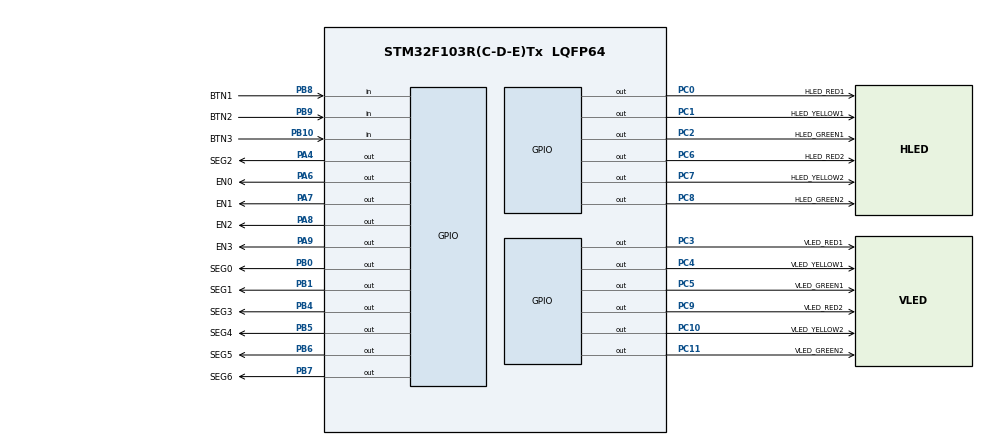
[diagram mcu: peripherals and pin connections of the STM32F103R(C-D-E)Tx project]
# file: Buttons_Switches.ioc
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Mcu.Family=STM32F1
Mcu.Name=STM32F103R(C-D-E)Tx
Mcu.Package=LQFP64
NVIC.PriorityGroup=NVIC_PRIORITYGROUP_4
NVIC.TIM2_IRQn=true\:0\:0\:false\:false\:true\:true\:true\:true
PA13.Mode=Serial_Wire
PA13.Signal=SYS_JTMS-SWDIO
PA14.Mode=Serial_Wire
PA14.Signal=SYS_JTCK-SWCLK
PA4.GPIO_Label=SEG2
PA4.Signal=GPIO_Output
PA6.GPIO_Label=EN0
PA6.Signal=GPIO_Output
PA7.GPIO_Label=EN1
PA7.Signal=GPIO_Output
PA8.GPIO_Label=EN2
PA8.Signal=GPIO_Output
PA9.GPIO_Label=EN3
PA9.Signal=GPIO_Output
PB0.GPIO_Label=SEG0
PB0.Signal=GPIO_Output
PB1.GPIO_Label=SEG1
PB1.Signal=GPIO_Output
PB10.GPIO_Label=BTN3
PB10.Signal=GPIO_Input
PB4.GPIO_Label=SEG3
PB4.Signal=GPIO_Output
PB5.GPIO_Label=SEG4
PB5.Signal=GPIO_Output
PB6.GPIO_Label=SEG5
PB6.Signal=GPIO_Output
PB7.GPIO_Label=SEG6
PB7.Signal=GPIO_Output
PB8.GPIO_Label=BTN1
PB8.Signal=GPIO_Input
PB9.GPIO_Label=BTN2
PB9.Signal=GPIO_Input
PC0.GPIO_Label=HLED_RED1
PC0.Signal=GPIO_Output
PC1.GPIO_Label=HLED_YELLOW1
PC1.Signal=GPIO_Output
PC10.GPIO_Label=VLED_YELLOW2
PC10.Signal=GPIO_Output
PC11.GPIO_Label=VLED_GREEN2
PC11.Signal=GPIO_Output
PC2.GPIO_Label=HLED_GREEN1
PC2.Signal=GPIO_Output
PC3.GPIO_Label=VLED_RED1
PC3.Signal=GPIO_Output
PC4.GPIO_Label=VLED_YELLOW1
PC4.Signal=GPIO_Output
PC5.GPIO_Label=VLED_GREEN1
PC5.Signal=GPIO_Output
PC6.GPIO_Label=HLED_RED2
PC6.Signal=GPIO_Output
PC7.GPIO_Label=HLED_YELLOW2
PC7.Signal=GPIO_Output
PC8.GPIO_Label=HLED_GREEN2
PC8.Signal=GPIO_Output
PC9.GPIO_Label=VLED_RED2
PC9.Signal=GPIO_Output
ProjectManager.HeapSize=0x200
ProjectManager.StackSize=0x400
ProjectManager.TargetToolchain=STM32CubeIDE
RCC.APB1Freq_Value=8000000
RCC.APB2Freq_Value=8000000
TIM2.Period=9
TIM2.Prescaler=799
VP_TIM2_VS_ClockSourceINT.Mode=Internal
board=custom

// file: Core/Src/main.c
/* USER CODE BEGIN Header */
/**
  ******************************************************************************
  * @file           : main.c
  * @brief          : Main program body
  ******************************************************************************
  * @attention
  *
  * Copyright (c) 2024 STMicroelectronics.
  * All rights reserved.
  *
  * This software is licensed under terms that can be found in the LICENSE file
  * in the root directory of this software component.
  * If no LICENSE file comes with this software, it is provided AS-IS.
  *
  ******************************************************************************
  */
/* USER CODE END Header */
#include "main.h"

/* USER CODE BEGIN Includes */
#include "timer.h"
#include "7seg.h"
#include "matrix.h"
#include "button.h"
#include "traffic_light.h"
#include "global.h"
#include "automatic.h"
#include "manual.h"
/* USER CODE END Includes */

TIM_HandleTypeDef htim2;

void SystemClock_Config(void);
static void MX_GPIO_Init(void);
static void MX_TIM2_Init(void);

int main(void)
{

  /* MCU Configuration--------------------------------------------------------*/

  /* Reset of all peripherals, Initializes the Flash interface and the Systick. */
  HAL_Init();

  /* Configure the system clock */
  SystemClock_Config();

  /* Initialize all configured peripherals */
  MX_GPIO_Init();
  MX_TIM2_Init();
  /* USER CODE BEGIN 2 */
  HAL_TIM_Base_Start_IT(&htim2);
  initButtons(); //Init for button_array
  setTimer(4, 1000); // Timer 5
  /* USER CODE END 2 */

  /* Infinite loop */
  while (1)
  {

    /* USER CODE BEGIN 3 */
	  fsm_automatic();
	  fsm_manual();
	  fsm_setting();
  }
  /* USER CODE END 3 */
}

void SystemClock_Config(void)
{
  RCC_OscInitTypeDef RCC_OscInitStruct = {0};
  RCC_ClkInitTypeDef RCC_ClkInitStruct = {0};

  /** Initializes the RCC Oscillators according to the specified parameters
  * in the RCC_OscInitTypeDef structure.
  */
  RCC_OscInitStruct.OscillatorType = RCC_OSCILLATORTYPE_HSI;
  RCC_OscInitStruct.HSIState = RCC_HSI_ON;
  RCC_OscInitStruct.HSICalibrationValue = RCC_HSICALIBRATION_DEFAULT;
  RCC_OscInitStruct.PLL.PLLState = RCC_PLL_NONE;
  if (HAL_RCC_OscConfig(&RCC_OscInitStruct) != HAL_OK)
  {
    Error_Handler();
  }

  /** Initializes the CPU, AHB and APB buses clocks
  */
  RCC_ClkInitStruct.ClockType = RCC_CLOCKTYPE_HCLK|RCC_CLOCKTYPE_SYSCLK
                              |RCC_CLOCKTYPE_PCLK1|RCC_CLOCKTYPE_PCLK2;
  RCC_ClkInitStruct.SYSCLKSource = RCC_SYSCLKSOURCE_HSI;
  RCC_ClkInitStruct.AHBCLKDivider = RCC_SYSCLK_DIV1;
  RCC_ClkInitStruct.APB1CLKDivider = RCC_HCLK_DIV1;
  RCC_ClkInitStruct.APB2CLKDivider = RCC_HCLK_DIV1;

  if (HAL_RCC_ClockConfig(&RCC_ClkInitStruct, FLASH_LATENCY_0) != HAL_OK)
  {
    Error_Handler();
  }
}

static void MX_TIM2_Init(void)
{

  TIM_ClockConfigTypeDef sClockSourceConfig = {0};
  TIM_MasterConfigTypeDef sMasterConfig = {0};

  htim2.Instance = TIM2;
  htim2.Init.Prescaler = 799;
  htim2.Init.CounterMode = TIM_COUNTERMODE_UP;
  htim2.Init.Period = 9;
  htim2.Init.ClockDivision = TIM_CLOCKDIVISION_DIV1;
  htim2.Init.AutoReloadPreload = TIM_AUTORELOAD_PRELOAD_DISABLE;
  if (HAL_TIM_Base_Init(&htim2) != HAL_OK)
  {
    Error_Handler();
  }
  sClockSourceConfig.ClockSource = TIM_CLOCKSOURCE_INTERNAL;
  if (HAL_TIM_ConfigClockSource(&htim2, &sClockSourceConfig) != HAL_OK)
  {
    Error_Handler();
  }
  sMasterConfig.MasterOutputTrigger = TIM_TRGO_RESET;
  sMasterConfig.MasterSlaveMode = TIM_MASTERSLAVEMODE_DISABLE;
  if (HAL_TIMEx_MasterConfigSynchronization(&htim2, &sMasterConfig) != HAL_OK)
  {
    Error_Handler();
  }

}

static void MX_GPIO_Init(void)
{
  GPIO_InitTypeDef GPIO_InitStruct = {0};

  /* GPIO Ports Clock Enable */
  __HAL_RCC_GPIOC_CLK_ENABLE();
  __HAL_RCC_GPIOA_CLK_ENABLE();
  __HAL_RCC_GPIOB_CLK_ENABLE();

  /*Configure GPIO pin Output Level */
  HAL_GPIO_WritePin(GPIOC, HLED_RED1_Pin|HLED_YELLOW1_Pin|HLED_GREEN1_Pin|VLED_RED1_Pin
                          |VLED_YELLOW1_Pin|VLED_GREEN1_Pin|HLED_RED2_Pin|HLED_YELLOW2_Pin
                          |HLED_GREEN2_Pin|VLED_RED2_Pin|VLED_YELLOW2_Pin|VLED_GREEN2_Pin, GPIO_PIN_RESET);

  /*Configure GPIO pin Output Level */
  HAL_GPIO_WritePin(GPIOA, SEG2_Pin|EN0_Pin|EN1_Pin|EN2_Pin
                          |EN3_Pin, GPIO_PIN_RESET);

  /*Configure GPIO pin Output Level */
  HAL_GPIO_WritePin(GPIOB, SEG0_Pin|SEG1_Pin|SEG3_Pin|SEG4_Pin
                          |SEG5_Pin|SEG6_Pin, GPIO_PIN_RESET);

  /*Configure GPIO pins : HLED_RED1_Pin HLED_YELLOW1_Pin HLED_GREEN1_Pin VLED_RED1_Pin
                           VLED_YELLOW1_Pin VLED_GREEN1_Pin HLED_RED2_Pin HLED_YELLOW2_Pin
                           HLED_GREEN2_Pin VLED_RED2_Pin VLED_YELLOW2_Pin VLED_GREEN2_Pin */
  GPIO_InitStruct.Pin = HLED_RED1_Pin|HLED_YELLOW1_Pin|HLED_GREEN1_Pin|VLED_RED1_Pin
                          |VLED_YELLOW1_Pin|VLED_GREEN1_Pin|HLED_RED2_Pin|HLED_YELLOW2_Pin
                          |HLED_GREEN2_Pin|VLED_RED2_Pin|VLED_YELLOW2_Pin|VLED_GREEN2_Pin;
  GPIO_InitStruct.Mode = GPIO_MODE_OUTPUT_PP;
  GPIO_InitStruct.Pull = GPIO_NOPULL;
  GPIO_InitStruct.Speed = GPIO_SPEED_FREQ_LOW;
  HAL_GPIO_Init(GPIOC, &GPIO_InitStruct);

  /*Configure GPIO pins : SEG2_Pin EN0_Pin EN1_Pin EN2_Pin
                           EN3_Pin */
  GPIO_InitStruct.Pin = SEG2_Pin|EN0_Pin|EN1_Pin|EN2_Pin
                          |EN3_Pin;
  GPIO_InitStruct.Mode = GPIO_MODE_OUTPUT_PP;
  GPIO_InitStruct.Pull = GPIO_NOPULL;
  GPIO_InitStruct.Speed = GPIO_SPEED_FREQ_LOW;
  HAL_GPIO_Init(GPIOA, &GPIO_InitStruct);

  /*Configure GPIO pins : SEG0_Pin SEG1_Pin SEG3_Pin SEG4_Pin
                           SEG5_Pin SEG6_Pin */
  GPIO_InitStruct.Pin = SEG0_Pin|SEG1_Pin|SEG3_Pin|SEG4_Pin
                          |SEG5_Pin|SEG6_Pin;
  GPIO_InitStruct.Mode = GPIO_MODE_OUTPUT_PP;
  GPIO_InitStruct.Pull = GPIO_NOPULL;
  GPIO_InitStruct.Speed = GPIO_SPEED_FREQ_LOW;
  HAL_GPIO_Init(GPIOB, &GPIO_InitStruct);

  /*Configure GPIO pins : BTN3_Pin BTN1_Pin BTN2_Pin */
  GPIO_InitStruct.Pin = BTN3_Pin|BTN1_Pin|BTN2_Pin;
  GPIO_InitStruct.Mode = GPIO_MODE_INPUT;
  GPIO_InitStruct.Pull = GPIO_NOPULL;
  HAL_GPIO_Init(GPIOB, &GPIO_InitStruct);

}

/* USER CODE BEGIN 4 */
int idx = 0;
void HAL_TIM_PeriodElapsedCallback(TIM_HandleTypeDef *htim)
{
	timerRun();
	getKeyInput();
	update7SEG(idx++);
	if (idx >= 4){
		idx = 0;
	}
}
/* USER CODE END 4 */

void Error_Handler(void)
{
  __disable_irq();
  while (1)
  {
  }
}
